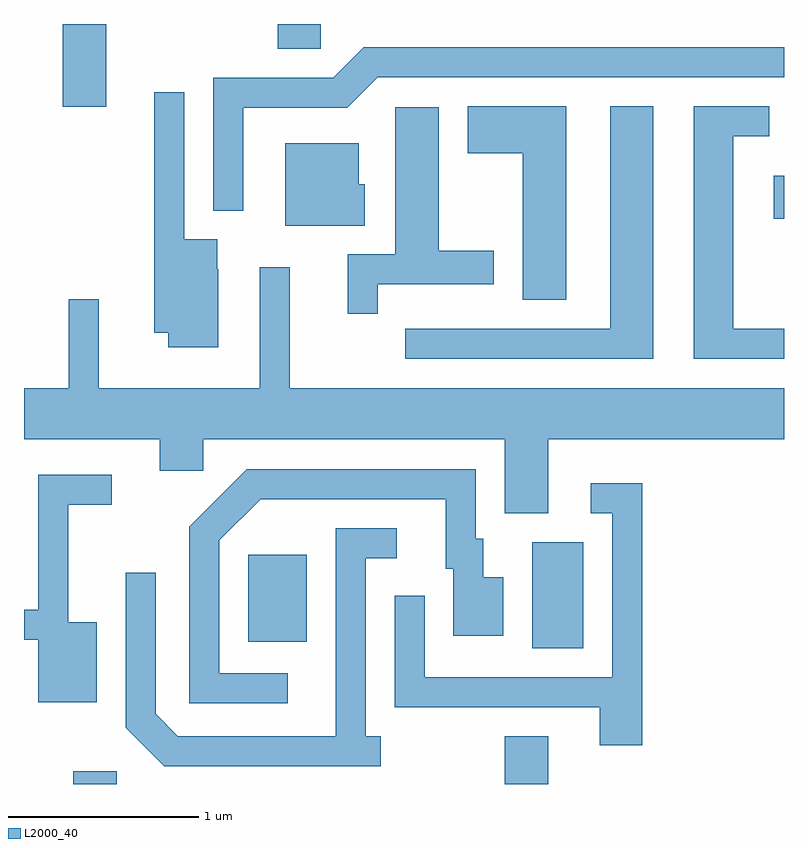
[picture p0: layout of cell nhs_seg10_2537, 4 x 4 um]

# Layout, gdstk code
import gdstk
lib = gdstk.Library(unit=1e-6, precision=1e-09)
def R(c, l, rs):  # rectangles x0, y0, x1, y1
    for r in rs: c.add(gdstk.rectangle(r[:2], r[2:], *l))
def P(c, l, *ps):  # polygons
    for p in ps: c.add(gdstk.Polygon(p, *l))
L2000_40 = (2000, 40)

nhs_seg10_2537 = lib.new_cell('nhs_seg10_2537')
R(nhs_seg10_2537, L2000_40, [(259.871,2136.522,260.099,2136.589), (262.141,2136.522,262.369,2136.774), (262.286,2137.236,262.554,2137.794), (260.791,2137.271,261.099,2137.729), (263.556,2139.496,263.611,2139.724), (259.816,2140.086,260.044,2140.522), (260.946,2140.391,261.174,2140.522)])
P(nhs_seg10_2537, L2000_40, [(260.764,2140.081),(261.312,2140.081),(261.472,2140.241),(263.611,2140.241),(263.611,2140.399),(261.399,2140.399),(261.239,2140.239),(260.606,2140.239),(260.606,2139.538),(260.764,2139.538)],
  [(260.634,2139.23),(260.629,2139.23),(260.629,2139.389),(260.454,2139.389),(260.454,2140.163),(260.296,2140.163),(260.296,2138.896),(260.371,2138.896),(260.371,2138.821),(260.634,2138.821)],
  [(262.924,2140.089),(262.696,2140.089),(262.696,2138.919),(261.618,2138.919),(261.618,2138.761),(262.924,2138.761)],
  [(262.464,2140.089),(261.946,2140.089),(261.946,2139.841),(262.236,2139.841),(262.236,2139.071),(262.464,2139.071)],
  [(263.611,2138.919),(263.344,2138.919),(263.344,2139.931),(263.533,2139.931),(263.533,2140.089),(263.136,2140.089),(263.136,2138.761),(263.611,2138.761)],
  [(261.474,2139.151),(262.084,2139.151),(262.084,2139.329),(261.794,2139.329),(261.794,2140.084),(261.566,2140.084),(261.566,2139.309),(261.316,2139.309),(261.316,2138.998),(261.474,2138.998)],
  [(261.404,2139.679),(261.374,2139.679),(261.374,2139.894),(260.986,2139.894),(260.986,2139.461),(261.404,2139.461)],
  [(262.369,2138.336),(263.611,2138.336),(263.611,2138.604),(261.009,2138.604),(261.009,2139.243),(260.851,2139.243),(260.851,2138.604),(260.004,2138.604),(260.004,2139.073),(259.846,2139.073),(259.846,2138.604),(259.611,2138.604),(259.611,2138.336),(260.326,2138.336),(260.326,2138.171),(260.554,2138.171),(260.554,2138.336),(262.141,2138.336),(262.141,2137.946),(262.369,2137.946)],
  [(260.998,2137.104),(260.639,2137.104),(260.639,2137.804),(260.856,2138.021),(261.831,2138.021),(261.831,2137.656),(261.871,2137.656),(261.871,2137.301),(262.134,2137.301),(262.134,2137.609),(262.029,2137.609),(262.029,2137.814),(261.989,2137.814),(261.989,2138.179),(260.784,2138.179),(260.481,2137.877),(260.481,2136.946),(260.998,2136.946)],
  [(259.994,2137.374),(259.844,2137.374),(259.844,2137.991),(260.073,2137.991),(260.073,2138.149),(259.686,2138.149),(259.686,2137.439),(259.611,2137.439),(259.611,2137.281),(259.686,2137.281),(259.686,2136.951),(259.994,2136.951)],
  [(262.864,2138.104),(262.593,2138.104),(262.593,2137.946),(262.706,2137.946),(262.706,2137.084),(261.719,2137.084),(261.719,2137.513),(261.561,2137.513),(261.561,2136.926),(262.641,2136.926),(262.641,2136.726),(262.864,2136.726)],
  [(261.488,2136.774),(261.409,2136.774),(261.409,2137.711),(261.573,2137.711),(261.573,2137.869),(261.251,2137.869),(261.251,2136.774),(260.421,2136.774),(260.304,2136.892),(260.304,2137.633),(260.146,2137.633),(260.146,2136.819),(260.349,2136.616),(261.488,2136.616)])

lib.write_gds('nhs_seg10_2537.gds')
